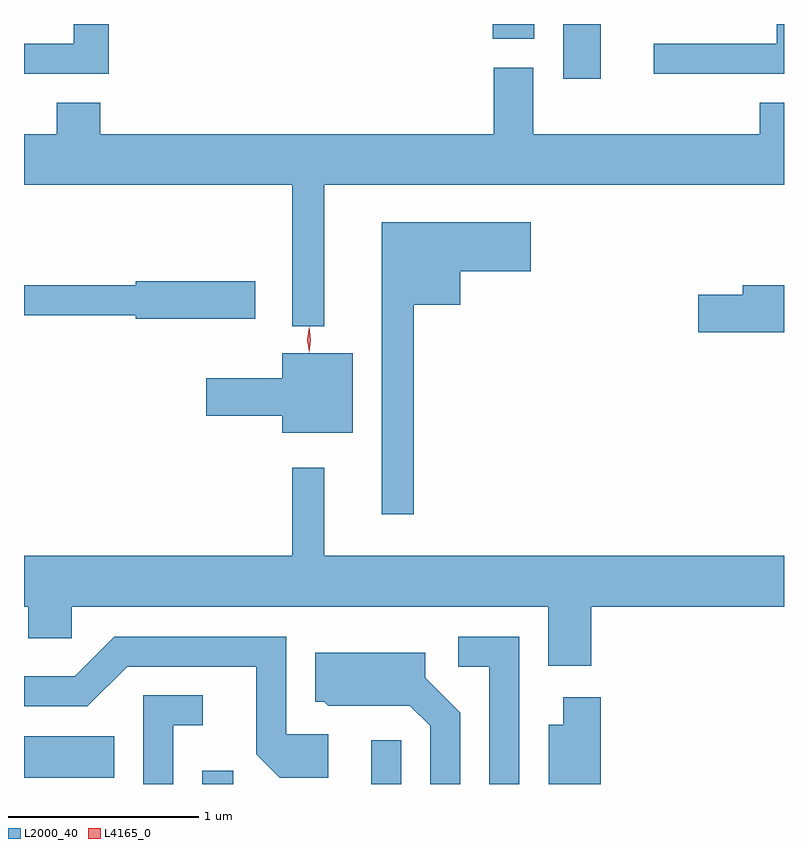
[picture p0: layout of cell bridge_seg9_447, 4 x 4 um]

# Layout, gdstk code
import gdstk
lib = gdstk.Library(unit=1e-6, precision=1e-09)
def R(c, l, rs):  # rectangles x0, y0, x1, y1
    for r in rs: c.add(gdstk.rectangle(r[:2], r[2:], *l))
def P(c, l, *ps):  # polygons
    for p in ps: c.add(gdstk.Polygon(p, *l))
L2000_40 = (2000, 40)
L4165_0 = (4165, 0)

bridge_seg9_447 = lib.new_cell('bridge_seg9_447')
R(bridge_seg9_447, L2000_40, [(439.096,1986.443,439.259,1986.513), (439.986,1986.443,440.144,1986.673), (438.158,1986.476,438.634,1986.694), (440.996,1990.156,441.194,1990.443), (440.626,1990.366,440.844,1990.443)])
P(bridge_seg9_447, L2000_40, [(438.604,1990.443),(438.421,1990.443),(438.421,1990.339),(438.158,1990.339),(438.158,1990.181),(438.604,1990.181)],
  [(442.158,1990.443),(442.121,1990.443),(442.121,1990.339),(441.473,1990.339),(441.473,1990.181),(442.158,1990.181)],
  [(439.739,1989.596),(442.158,1989.596),(442.158,1990.029),(442.031,1990.029),(442.031,1989.864),(440.839,1989.864),(440.839,1990.214),(440.631,1990.214),(440.631,1989.864),(438.559,1989.864),(438.559,1990.029),(438.331,1990.029),(438.331,1989.864),(438.158,1989.864),(438.158,1989.596),(439.571,1989.596),(439.571,1988.853),(439.739,1988.853)],
  [(440.209,1988.966),(440.454,1988.966),(440.454,1989.141),(440.824,1989.141),(440.824,1989.399),(440.041,1989.399),(440.041,1987.863),(440.209,1987.863)],
  [(439.374,1989.089),(438.746,1989.089),(438.746,1989.069),(438.158,1989.069),(438.158,1988.911),(438.746,1988.911),(438.746,1988.891),(439.374,1988.891)],
  [(442.158,1989.069),(441.941,1989.069),(441.941,1989.019),(441.706,1989.019),(441.706,1988.821),(442.158,1988.821)],
  [(439.889,1988.709),(439.516,1988.709),(439.516,1988.579),(439.116,1988.579),(439.116,1988.381),(439.516,1988.381),(439.516,1988.291),(439.889,1988.291)],
  [(441.144,1987.376),(442.158,1987.376),(442.158,1987.644),(439.739,1987.644),(439.739,1988.108),(439.571,1988.108),(439.571,1987.644),(438.158,1987.644),(438.158,1987.376),(438.181,1987.376),(438.181,1987.211),(438.409,1987.211),(438.409,1987.376),(440.916,1987.376),(440.916,1987.066),(441.144,1987.066)],
  [(439.759,1986.704),(439.539,1986.704),(439.539,1987.219),(438.634,1987.219),(438.424,1987.009),(438.158,1987.009),(438.158,1986.851),(438.492,1986.851),(438.702,1987.061),(439.381,1987.061),(439.381,1986.599),(439.504,1986.476),(439.759,1986.476)],
  [(440.764,1987.219),(440.443,1987.219),(440.443,1987.061),(440.606,1987.061),(440.606,1986.443),(440.764,1986.443)],
  [(440.454,1986.817),(440.269,1987.002),(440.269,1987.134),(439.691,1987.134),(439.691,1986.876),(439.739,1986.876),(439.759,1986.856),(440.189,1986.856),(440.296,1986.749),(440.296,1986.443),(440.454,1986.443)],
  [(438.944,1986.751),(439.098,1986.751),(439.098,1986.909),(438.786,1986.909),(438.786,1986.443),(438.944,1986.443)],
  [(441.194,1986.899),(440.996,1986.899),(440.996,1986.754),(440.921,1986.754),(440.921,1986.443),(441.194,1986.443)])
P(bridge_seg9_447, L4165_0, [(439.658,1988.715),(439.648,1988.782),(439.658,1988.85),(439.658,1988.85),(439.658,1988.85),(439.668,1988.782),(439.66,1988.715),(439.659,1988.715)],
  [(439.658,1988.721),(439.648,1988.784),(439.658,1988.846),(439.658,1988.847),(439.658,1988.846),(439.668,1988.784),(439.66,1988.721),(439.659,1988.721)])

lib.write_gds('bridge_seg9_447.gds')
